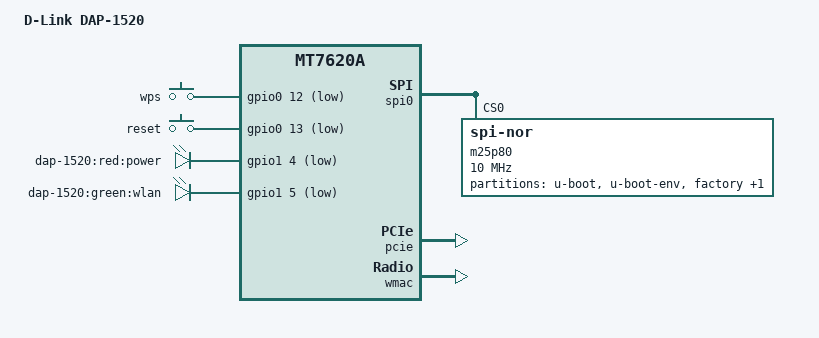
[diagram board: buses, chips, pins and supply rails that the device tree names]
/dts-v1/;

#include "mt7620a.dtsi"

#include <dt-bindings/gpio/gpio.h>
#include <dt-bindings/input/input.h>

/ {
	compatible = "dlink,dap-1520", "ralink,mt7620a-soc";
	model = "D-Link DAP-1520";

	aliases {
		led-boot = &led_power_red;
		led-failsafe = &led_power_red;
		led-running = &led_power_red;
		led-upgrade = &led_power_red;
	};

	keys {
		compatible = "gpio-keys";

		wps {
			label = "wps";
			gpios = <&gpio0 12 GPIO_ACTIVE_LOW>;
			linux,code = <KEY_RFKILL>;
		};

		reset {
			label = "reset";
			gpios = <&gpio0 13 GPIO_ACTIVE_LOW>;
			linux,code = <KEY_RESTART>;
		};
	};

	leds {
		compatible = "gpio-leds";

		led_power_red: power {
			label = "dap-1520:red:power";
			gpios = <&gpio1 4 GPIO_ACTIVE_LOW>;
		};

		wlan {
			label = "dap-1520:green:wlan";
			gpios = <&gpio1 5 GPIO_ACTIVE_LOW>;
		};
	};
};

&gpio0 {
	status = "okay";
};

&gpio1 {
	status = "okay";
};

&spi0 {
	status = "okay";

	m25p80@0 {
		compatible = "jedec,spi-nor";
		reg = <0>;
		spi-max-frequency = <10000000>;

		partitions {
			compatible = "fixed-partitions";
			#address-cells = <1>;
			#size-cells = <1>;

			partition@0 {
				label = "u-boot";
				reg = <0x0 0x30000>;
				read-only;
			};

			partition@30000 {
				label = "u-boot-env";
				reg = <0x30000 0x10000>;
				read-only;
			};

			factory: partition@40000 {
				label = "factory";
				reg = <0x40000 0x10000>;
				read-only;
			};

			partition@50000 {
				compatible = "denx,uimage";
				label = "firmware";
				reg = <0x50000 0x7b0000>;
			};
		};
	};
};

&pinctrl {
	state_default: pinctrl0 {
		gpio {
			ralink,group = "i2c", "uartf", "rgmii1";
			ralink,function = "gpio";
		};
	};
};

&pcie {
	status = "okay";
};

&wmac {
	ralink,mtd-eeprom = <&factory 0>;
};

&pcie0 {
	wifi@0,0 {
		reg = <0x0000 0 0 0 0>;
		mediatek,mtd-eeprom = <&factory 0x8000>;
		ieee80211-freq-limit = <5000000 6000000>;
	};
};
